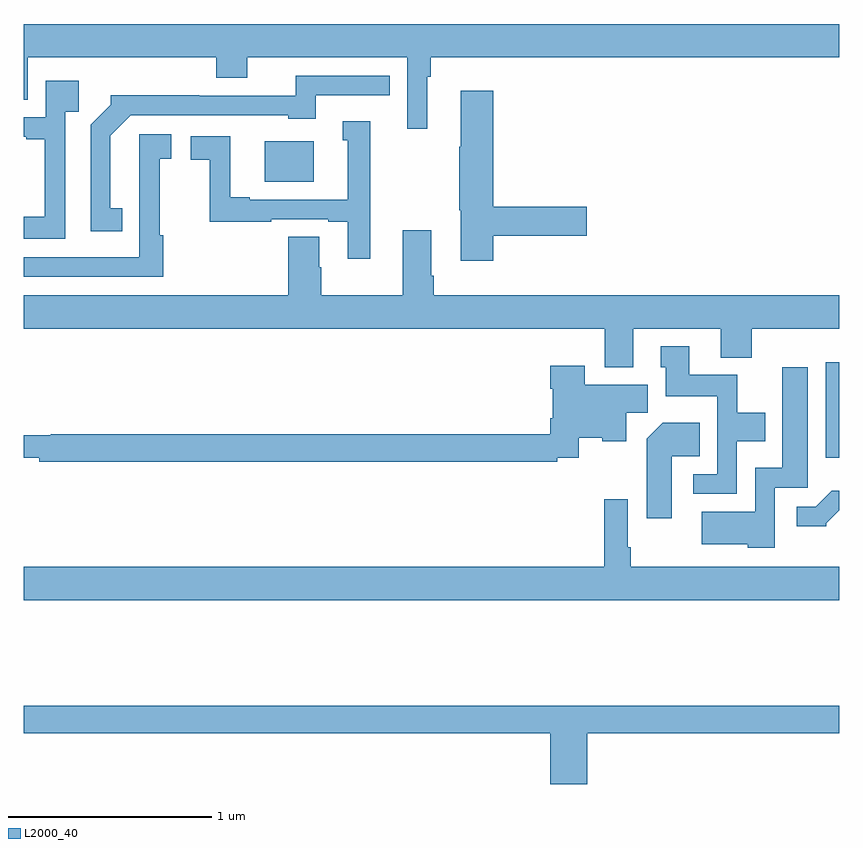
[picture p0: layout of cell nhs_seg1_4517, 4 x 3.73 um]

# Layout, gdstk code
import gdstk
lib = gdstk.Library(unit=1e-6, precision=1e-09)
def R(c, l, rs):  # rectangles x0, y0, x1, y1
    for r in rs: c.add(gdstk.rectangle(r[:2], r[2:], *l))
def P(c, l, *ps):  # polygons
    for p in ps: c.add(gdstk.Polygon(p, *l))
L2000_40 = (2000, 40)

nhs_seg1_4517 = lib.new_cell('nhs_seg1_4517')
R(nhs_seg1_4517, L2000_40, [(360.935,517.8,361,518.269), (358.181,519.155,358.423,519.352)])
P(nhs_seg1_4517, L2000_40, [(357,519.556),(357.019,519.556),(357.019,519.764),(357.944,519.764),(357.944,519.665),(358.096,519.665),(358.096,519.764),(358.881,519.764),(358.881,519.414),(358.978,519.414),(358.978,519.668),(358.997,519.668),(358.997,519.764),(361,519.764),(361,519.928),(357,519.928)],
  [(357.482,519.023),(357.424,519.023),(357.424,519.379),(357.525,519.48),(358.296,519.48),(358.296,519.464),(358.432,519.464),(358.432,519.579),(358.796,519.579),(358.796,519.675),(358.333,519.675),(358.333,519.576),(357.86,519.576),(357.86,519.578),(357.426,519.578),(357.426,519.533),(357.327,519.434),(357.327,518.91),(357.482,518.91)],
  [(357.204,519.497),(357.269,519.497),(357.269,519.649),(357.108,519.649),(357.108,519.471),(357,519.471),(357,519.375),(357.011,519.375),(357.011,519.363),(357.103,519.363),(357.103,518.983),(357,518.983),(357,518.874),(357.204,518.874)],
  [(359.303,518.89),(359.761,518.89),(359.761,519.032),(359.303,519.032),(359.303,519.601),(359.144,519.601),(359.144,519.326),(359.137,519.326),(359.137,519.015),(359.144,519.015),(359.144,518.766),(359.303,518.766)],
  [(358.699,519.451),(358.565,519.451),(358.565,519.357),(358.589,519.357),(358.589,519.066),(358.108,519.066),(358.108,519.079),(358.012,519.079),(358.012,519.378),(357.819,519.378),(357.819,519.262),(357.913,519.262),(357.913,518.958),(358.214,518.958),(358.214,518.97),(358.493,518.97),(358.493,518.958),(358.589,518.958),(358.589,518.775),(358.699,518.775)],
  [(357.683,518.891),(357.666,518.891),(357.666,519.267),(357.724,519.267),(357.724,519.388),(357.566,519.388),(357.566,519.112),(357.567,519.112),(357.567,518.784),(357,518.784),(357,518.688),(357.683,518.688)],
  [(359.989,518.432),(360.419,518.432),(360.419,518.291),(360.572,518.291),(360.572,518.432),(361,518.432),(361,518.596),(359.012,518.596),(359.012,518.692),(358.999,518.692),(358.999,518.917),(358.859,518.917),(358.859,518.596),(358.458,518.596),(358.458,518.735),(358.45,518.735),(358.45,518.885),(358.298,518.885),(358.298,518.596),(357,518.596),(357,518.432),(359.849,518.432),(359.849,518.243),(359.989,518.243)],
  [(360.498,517.88),(360.637,517.88),(360.637,518.02),(360.501,518.02),(360.501,518.206),(360.265,518.206),(360.265,518.347),(360.125,518.347),(360.125,518.244),(360.149,518.244),(360.149,518.102),(360.402,518.102),(360.402,517.719),(360.285,517.719),(360.285,517.623),(360.498,517.623)],
  [(359.618,517.8),(359.722,517.8),(359.722,517.898),(359.838,517.898),(359.838,517.88),(359.956,517.88),(359.956,518.02),(360.061,518.02),(360.061,518.158),(359.752,518.158),(359.752,518.251),(359.582,518.251),(359.582,518.138),(359.594,518.138),(359.594,517.993),(359.582,517.993),(359.582,517.916),(357.131,517.916),(357.131,517.909),(357,517.909),(357,517.799),(357.076,517.799),(357.076,517.78),(359.618,517.78)],
  [(360.684,517.653),(360.847,517.653),(360.847,518.245),(360.722,518.245),(360.722,517.75),(360.588,517.75),(360.588,517.534),(360.327,517.534),(360.327,517.376),(360.552,517.376),(360.552,517.358),(360.684,517.358)],
  [(360.178,517.808),(360.317,517.808),(360.317,517.972),(360.134,517.972),(360.056,517.894),(360.056,517.503),(360.178,517.503)],
  [(360.936,517.478),(361,517.542),(361,517.639),(360.964,517.639),(360.885,517.56),(360.792,517.56),(360.792,517.463),(360.936,517.463)],
  [(361,517.264),(359.977,517.264),(359.977,517.36),(359.964,517.36),(359.964,517.597),(359.848,517.597),(359.848,517.264),(357,517.264),(357,517.1),(361,517.1)],
  [(359.765,516.448),(361,516.448),(361,516.584),(357,516.584),(357,516.448),(359.582,516.448),(359.582,516.199),(359.765,516.199)])

lib.write_gds('nhs_seg1_4517.gds')
